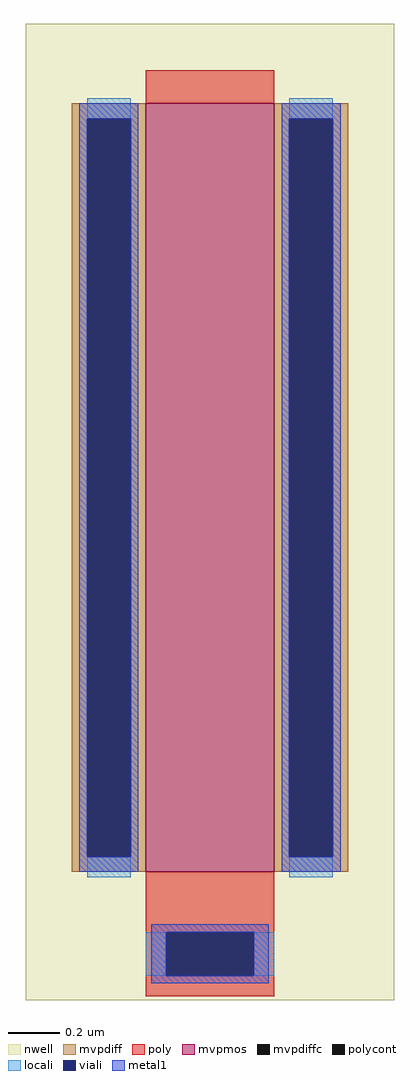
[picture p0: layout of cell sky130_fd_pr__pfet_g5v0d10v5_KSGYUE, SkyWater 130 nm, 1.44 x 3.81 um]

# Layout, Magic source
magic
tech sky130A
magscale 1 2
<< nwell >>
rect -144 -364 144 398
<< mvpmos >>
rect -50 -264 50 336
<< mvpdiff >>
rect -108 324 -50 336
rect -108 -252 -96 324
rect -62 -252 -50 324
rect -108 -264 -50 -252
rect 50 324 108 336
rect 50 -252 62 324
rect 96 -252 108 324
rect 50 -264 108 -252
<< mvpdiffc >>
rect -96 -252 -62 324
rect 62 -252 96 324
<< poly >>
rect -50 336 50 362
rect -50 -311 50 -264
rect -50 -345 -34 -311
rect 34 -345 50 -311
rect -50 -361 50 -345
<< polycont >>
rect -34 -345 34 -311
<< locali >>
rect -96 324 -62 340
rect -96 -268 -62 -252
rect 62 324 96 340
rect 62 -268 96 -252
rect -50 -345 -34 -311
rect 34 -345 50 -311
<< viali >>
rect -96 -252 -62 324
rect 62 -252 96 324
rect -34 -345 34 -311
<< metal1 >>
rect -102 324 -56 336
rect -102 -252 -96 324
rect -62 -252 -56 324
rect -102 -264 -56 -252
rect 56 324 102 336
rect 56 -252 62 324
rect 96 -252 102 324
rect 56 -264 102 -252
rect -46 -311 46 -305
rect -46 -345 -34 -311
rect 34 -345 46 -311
rect -46 -351 46 -345
<< properties >>
string gencell sky130_fd_pr__pfet_g5v0d10v5
string library sky130
string parameters w 3.0 l 0.5 m 1 nf 1 diffcov 100 polycov 100 guard 0 glc 0 grc 0 gtc 0 gbc 0 tbcov 100 rlcov 100 topc 0 botc 1 poverlap 0 doverlap 1 lmin 0.50 wmin 0.42 compatible {sky130_fd_pr__pfet_01v8  sky130_fd_pr__pfet_01v8_lvt sky130_fd_pr__pfet_01v8_hvt  sky130_fd_pr__pfet_g5v0d10v5} full_metal 0 viasrc 100 viadrn 100 viagate 100 viagb 0 viagr 0 viagl 0 viagt 0
<< end >>
